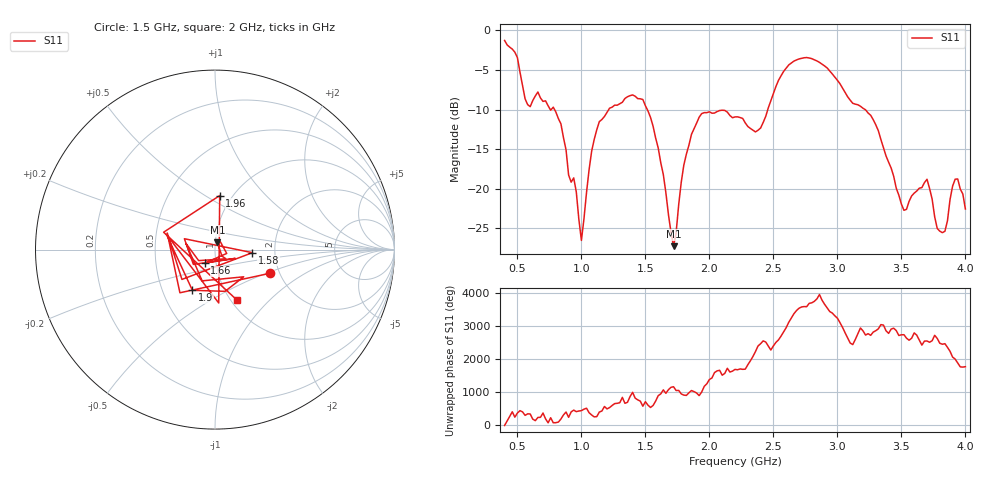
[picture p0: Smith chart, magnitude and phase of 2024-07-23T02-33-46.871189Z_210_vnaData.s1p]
!Created with skrf (http://scikit-rf.org).
# Hz S RI R 50.0
!freq ReS11 ImS11
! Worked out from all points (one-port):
!   181 points, 400 MHz to 4 GHz, reference 50 ohm
!   lowest |S11| = -27.3 dB at 1.72 GHz (marker M1), VSWR 1.09, Z = 51.2 + j4.22 ohm
!   |S11| at or under -10 dB: 789.8 MHz to 1.214 GHz (423.8 MHz wide, 42.3 % of centre); 1.515 GHz to 2.456 GHz (941.6 MHz wide, 47.4 % of centre); 3.216 GHz to end of sweep (the widest 3 of 4)
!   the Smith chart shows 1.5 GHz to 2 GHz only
!   S11 on the Smith chart (normalised r, x): 1.5 GHz: 1.78, -0.53; 1.58 GHz: 1.52, -0.05; 1.66 GHz: 0.88, -0.13; 1.9 GHz: 0.71, -0.34; 1.96 GHz: 0.87, +0.58; 2 GHz: 1.07, -0.66
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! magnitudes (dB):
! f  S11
! 400 MHz  -1.3
! 500 MHz  -3.4
! 580 MHz  -9.4
! 660 MHz  -7.8
! 860 MHz  -13.6
! 960 MHz  -20.4
! 1 GHz  -26.5
! 1.12 GHz  -12.6
! 1.3 GHz  -9.3
! 1.5 GHz  -9.5
! 1.58 GHz  -13.6
! 1.66 GHz  -20.5
! 1.72 GHz  -27.3
! 1.76 GHz  -22.0
! 1.9 GHz  -11.7
! 1.96 GHz  -10.4
! 2 GHz  -10.3
! 2.2 GHz  -10.9
! 2.4 GHz  -12.3
! 2.66 GHz  -3.9
! 3.1 GHz  -8.8
! 3.26 GHz  -10.7
! 3.52 GHz  -22.7
! 3.56 GHz  -21.6
! 3.7 GHz  -18.8
! 3.82 GHz  -25.6
! 3.94 GHz  -18.8
! 4 GHz  -22.6
